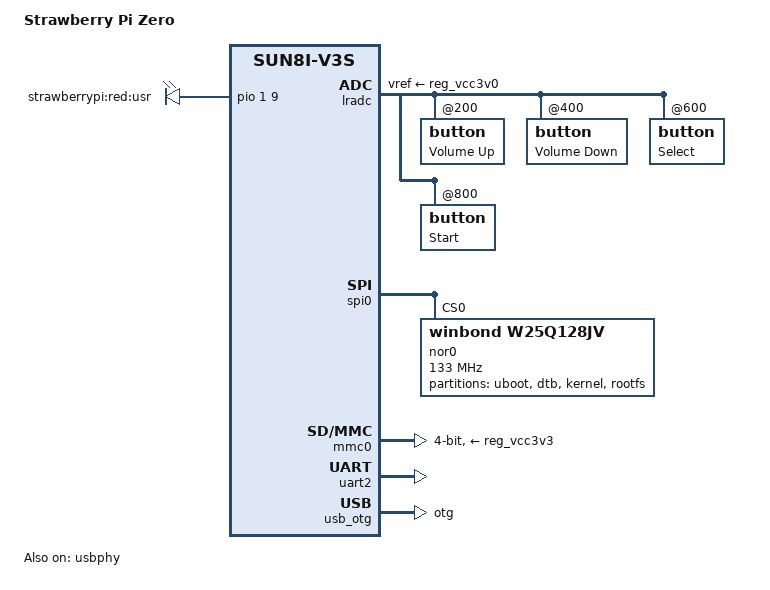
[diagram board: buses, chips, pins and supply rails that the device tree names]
/*
 * Copyright (C) 2016 Icenowy Zheng <icenowy@aosc.xyz>
 *
 * This file is dual-licensed: you can use it either under the terms
 * of the GPL or the X11 license, at your option. Note that this dual
 * licensing only applies to this file, and not this project as a
 * whole.
 *
 *  a) This file is free software; you can redistribute it and/or
 *     modify it under the terms of the GNU General Public License as
 *     published by the Free Software Foundation; either version 2 of the
 *     License, or (at your option) any later version.
 *
 *     This file is distributed in the hope that it will be useful,
 *     but WITHOUT ANY WARRANTY; without even the implied warranty of
 *     MERCHANTABILITY or FITNESS FOR A PARTICULAR PURPOSE.  See the
 *     GNU General Public License for more details.
 *
 * Or, alternatively,
 *
 *  b) Permission is hereby granted, free of charge, to any person
 *     obtaining a copy of this software and associated documentation
 *     files (the "Software"), to deal in the Software without
 *     restriction, including without limitation the rights to use,
 *     copy, modify, merge, publish, distribute, sublicense, and/or
 *     sell copies of the Software, and to permit persons to whom the
 *     Software is furnished to do so, subject to the following
 *     conditions:
 *
 *     The above copyright notice and this permission notice shall be
 *     included in all copies or substantial portions of the Software.
 *
 *     THE SOFTWARE IS PROVIDED "AS IS", WITHOUT WARRANTY OF ANY KIND,
 *     EXPRESS OR IMPLIED, INCLUDING BUT NOT LIMITED TO THE WARRANTIES
 *     OF MERCHANTABILITY, FITNESS FOR A PARTICULAR PURPOSE AND
 *     NONINFRINGEMENT. IN NO EVENT SHALL THE AUTHORS OR COPYRIGHT
 *     HOLDERS BE LIABLE FOR ANY CLAIM, DAMAGES OR OTHER LIABILITY,
 *     WHETHER IN AN ACTION OF CONTRACT, TORT OR OTHERWISE, ARISING
 *     FROM, OUT OF OR IN CONNECTION WITH THE SOFTWARE OR THE USE OR
 *     OTHER DEALINGS IN THE SOFTWARE.
 */

/dts-v1/;
#include <dt-bindings/input/input.h>
#include "sun8i-v3s.dtsi"
#include "sunxi-common-regulators.dtsi"

/ {
	model = "Strawberry Pi Zero";
	compatible = "strawberrypi,strawberrypi-zero", "allwinner,sun8i-v3s";

	aliases {
		serial2 = &uart2;
		spi0 = &spi0;
	};

	chosen {
		stdout-path = "serial2:115200n8";
	};

	leds {
		compatible = "gpio-leds";

		red_led {
			label = "strawberrypi:red:usr";
			gpios = <&pio 1 9 GPIO_ACTIVE_HIGH>; /* PB9 */
			default-state = "off";
		};
	};
};

&lradc {
	vref-supply = <&reg_vcc3v0>;
	status = "okay";

	button@200 {
		label = "Volume Up";
		linux,code = <KEY_VOLUMEUP>;
		channel = <0>;
		voltage = <200000>;
	};

	button@400 {
		label = "Volume Down";
		linux,code = <KEY_VOLUMEDOWN>;
		channel = <0>;
		voltage = <400000>;
	};

	button@600 {
		label = "Select";
		linux,code = <KEY_SELECT>;
		channel = <0>;
		voltage = <600000>;
	};

	button@800 {
		label = "Start";
		linux,code = <KEY_OK>;
		channel = <0>;
		voltage = <800000>;
	};
};

&spi0 {
	status = "okay";

	/* Winbond 25Q128JV SPI flash */
	nor0: spi-flash@0 {
		#address-cells = <1>;
		#size-cells = <1>;
		compatible = "winbond,w25q128jv", "jedec,spi-nor";
		spi-max-frequency = <133000000>;
		reg = <0>;
		
        partitions {
			   compatible = "fixed-partitions";
			   #address-cells = <1>;
			   #size-cells = <1>;

			   partition@0 {
					   label = "uboot";
					   reg = <0x0000000 0x0100000>;
			   };

			   partition@100000 {
					   label = "dtb";
					   reg = <0x0100000 0x0010000>;
			   };

			   partition@110000 {
					   label = "kernel";
					   reg = <0x0110000 0x0300000>;
			   };
			   
			   partition@510000 {
					   label = "rootfs";
					   reg = <0x0410000 0x0BF0000>;
			   };
			};
		};
};

&mmc0 {
	broken-cd;
	bus-width = <4>;
	vmmc-supply = <&reg_vcc3v3>;
	status = "okay";
};

&uart2 {
	pinctrl-0 = <&uart2_pins>;
	pinctrl-names = "default";
	status = "okay";
};

&usb_otg {
	dr_mode = "otg";
	status = "okay";
};

&usbphy {
	usb0_id_det-gpios = <&pio 5 6 GPIO_ACTIVE_HIGH>;
	status = "okay";
};
